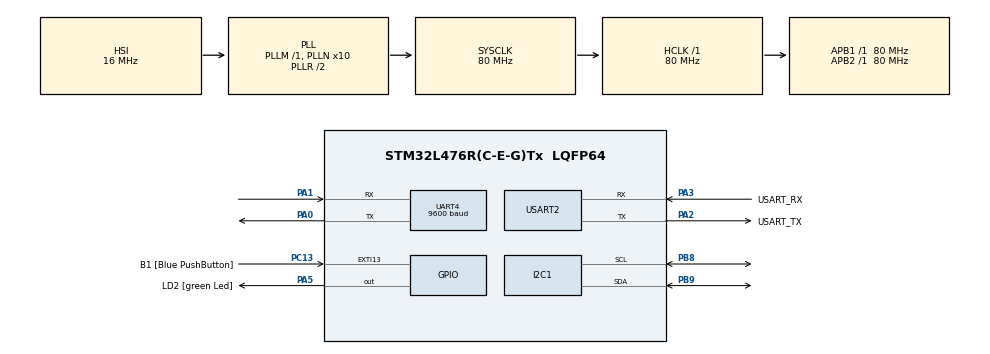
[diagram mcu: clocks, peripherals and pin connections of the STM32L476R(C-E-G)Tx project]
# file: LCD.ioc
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Dma.I2C1_RX.1.Direction=DMA_PERIPH_TO_MEMORY
Dma.I2C1_RX.1.Instance=DMA2_Channel6
Dma.I2C1_RX.1.MemDataAlignment=DMA_MDATAALIGN_BYTE
Dma.I2C1_RX.1.MemInc=DMA_MINC_ENABLE
Dma.I2C1_RX.1.Mode=DMA_NORMAL
Dma.I2C1_RX.1.PeriphDataAlignment=DMA_PDATAALIGN_BYTE
Dma.I2C1_RX.1.PeriphInc=DMA_PINC_DISABLE
Dma.I2C1_RX.1.Priority=DMA_PRIORITY_LOW
Dma.I2C1_TX.0.Direction=DMA_MEMORY_TO_PERIPH
Dma.I2C1_TX.0.Instance=DMA1_Channel6
Dma.I2C1_TX.0.MemDataAlignment=DMA_MDATAALIGN_BYTE
Dma.I2C1_TX.0.MemInc=DMA_MINC_ENABLE
Dma.I2C1_TX.0.Mode=DMA_NORMAL
Dma.I2C1_TX.0.PeriphDataAlignment=DMA_PDATAALIGN_BYTE
Dma.I2C1_TX.0.PeriphInc=DMA_PINC_DISABLE
Dma.I2C1_TX.0.Priority=DMA_PRIORITY_LOW
Dma.Request0=I2C1_TX
Dma.Request1=I2C1_RX
FREERTOS.Tasks01=Task_1000ms,24,128,myTask_1000ms,Default,NULL,Dynamic,NULL,NULL;Task_500ms,24,128,myTask_500ms,Default,NULL,Dynamic,NULL,NULL;Task_100ms,8,128,myTask_100ms,Default,NULL,Dynamic,NULL,NULL
FREERTOS.configGENERATE_RUN_TIME_STATS=1
FREERTOS.configUSE_PREEMPTION=0
I2C1.Timing=0x10909CEC
Mcu.Family=STM32L4
Mcu.Name=STM32L476R(C-E-G)Tx
Mcu.Package=LQFP64
NVIC.DMA1_Channel6_IRQn=true\:5\:0\:false\:false\:true\:true\:false\:true
NVIC.DMA2_Channel6_IRQn=true\:5\:0\:false\:false\:true\:false\:false\:true
NVIC.I2C1_ER_IRQn=true\:5\:0\:false\:false\:true\:true\:true\:true
NVIC.I2C1_EV_IRQn=true\:5\:0\:false\:false\:true\:true\:true\:true
NVIC.PriorityGroup=NVIC_PRIORITYGROUP_4
NVIC.TIM6_DAC_IRQn=true\:0\:0\:false\:false\:true\:false\:false\:true
NVIC.TimeBase=TIM6_DAC_IRQn
NVIC.TimeBaseIP=TIM6
NVIC.UART4_IRQn=true\:5\:0\:false\:false\:true\:true\:true\:true
PA0.Mode=Asynchronous
PA0.Signal=UART4_TX
PA1.Mode=Asynchronous
PA1.Signal=UART4_RX
PA13\ (JTMS-SWDIO).GPIO_Label=TMS
PA13\ (JTMS-SWDIO).Mode=Serial_Wire
PA13\ (JTMS-SWDIO).Signal=SYS_JTMS-SWDIO
PA14\ (JTCK-SWCLK).GPIO_Label=TCK
PA14\ (JTCK-SWCLK).Mode=Serial_Wire
PA14\ (JTCK-SWCLK).Signal=SYS_JTCK-SWCLK
PA2.GPIO_Label=USART_TX
PA2.GPIO_Mode=GPIO_MODE_AF_PP
PA2.GPIO_PuPd=GPIO_NOPULL
PA2.GPIO_Speed=GPIO_SPEED_FREQ_VERY_HIGH
PA2.Mode=Asynchronous
PA2.Signal=USART2_TX
PA3.GPIO_Label=USART_RX
PA3.GPIO_Mode=GPIO_MODE_AF_PP
PA3.GPIO_PuPd=GPIO_NOPULL
PA3.GPIO_Speed=GPIO_SPEED_FREQ_VERY_HIGH
PA3.Mode=Asynchronous
PA3.Signal=USART2_RX
PA5.GPIO_Label=LD2 [green Led]
PA5.GPIO_ModeDefaultOutputPP=GPIO_MODE_OUTPUT_PP
PA5.GPIO_PuPd=GPIO_NOPULL
PA5.GPIO_Speed=GPIO_SPEED_FREQ_LOW
PA5.Signal=GPIO_Output
PB8.Mode=I2C
PB8.Signal=I2C1_SCL
PB9.Mode=I2C
PB9.Signal=I2C1_SDA
PC13.GPIO_Label=B1 [Blue PushButton]
PC13.GPIO_ModeDefaultEXTI=GPIO_MODE_IT_FALLING
PC13.GPIO_PuPd=GPIO_NOPULL
PC13.Signal=GPXTI13
PC14-OSC32_IN\ (PC14).Mode=LSE-External-Oscillator
PC14-OSC32_IN\ (PC14).Signal=RCC_OSC32_IN
PC15-OSC32_OUT\ (PC15).Mode=LSE-External-Oscillator
PC15-OSC32_OUT\ (PC15).Signal=RCC_OSC32_OUT
PH0-OSC_IN\ (PH0).Signal=RCC_OSC_IN
PH1-OSC_OUT\ (PH1).Signal=RCC_OSC_OUT
ProjectManager.HeapSize=0x200
ProjectManager.StackSize=0x400
ProjectManager.TargetToolchain=STM32CubeIDE
RCC.ADCFreq_Value=64000000
RCC.AHBFreq_Value=80000000
RCC.APB1Freq_Value=80000000
RCC.APB1TimFreq_Value=80000000
RCC.APB2Freq_Value=80000000
RCC.APB2TimFreq_Value=80000000
RCC.CortexFreq_Value=80000000
RCC.HCLKFreq_Value=80000000
RCC.HSE_VALUE=8000000
RCC.HSI_VALUE=16000000
RCC.MSI_VALUE=4000000
RCC.PLLN=10
RCC.PLLSourceVirtual=RCC_PLLSOURCE_HSI
RCC.PREFETCH_ENABLE=1
RCC.SYSCLKFreq_VALUE=80000000
RCC.SYSCLKSource=RCC_SYSCLKSOURCE_PLLCLK
RCC.USBFreq_Value=64000000
RCC.VCOOutputFreq_Value=160000000
UART4.BaudRate=9600
USART2.Parity=PARITY_NONE
USART2.VirtualMode-Asynchronous=VM_ASYNC
VP_FREERTOS_VS_CMSIS_V2.Mode=CMSIS_V2
VP_SYS_VS_tim6.Mode=TIM6
board=NUCLEO-L476RG

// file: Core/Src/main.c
/* USER CODE BEGIN Header */
/**
  ******************************************************************************
  * @file           : main.c
  * @brief          : Main program body
  ******************************************************************************
  * @attention
  *
  * <h2><center>&copy; Copyright (c) 2020 STMicroelectronics.
  * All rights reserved.</center></h2>
  *
  * This software component is licensed by ST under BSD 3-Clause license,
  * the "License"; You may not use this file except in compliance with the
  * License. You may obtain a copy of the License at:
  *                        opensource.org/licenses/BSD-3-Clause
  *
  ******************************************************************************
  */
/* USER CODE END Header */

#include "main.h"
#include "cmsis_os.h"

/* USER CODE BEGIN Includes */

#include <stdio.h>
#include <stdlib.h>
#include <inttypes.h>

#include "lcd_hd44780_i2c.h"

/* USER CODE END Includes */

I2C_HandleTypeDef hi2c1;
DMA_HandleTypeDef hdma_i2c1_tx;
DMA_HandleTypeDef hdma_i2c1_rx;

UART_HandleTypeDef huart4;
UART_HandleTypeDef huart2;

/* Definitions for Task_1000ms */
osThreadId_t Task_1000msHandle;
const osThreadAttr_t Task_1000ms_attributes = {
  .name = "Task_1000ms",
  .priority = (osPriority_t) osPriorityNormal,
  .stack_size = 128 * 4
};
/* Definitions for Task_500ms */
osThreadId_t Task_500msHandle;
const osThreadAttr_t Task_500ms_attributes = {
  .name = "Task_500ms",
  .priority = (osPriority_t) osPriorityNormal,
  .stack_size = 128 * 4
};
/* Definitions for Task_100ms */
osThreadId_t Task_100msHandle;
const osThreadAttr_t Task_100ms_attributes = {
  .name = "Task_100ms",
  .priority = (osPriority_t) osPriorityLow,
  .stack_size = 128 * 4
};
/* USER CODE BEGIN PV */

uint8_t BUFOR = 0;

/* USER CODE END PV */

void SystemClock_Config(void);
static void MX_GPIO_Init(void);
static void MX_DMA_Init(void);
static void MX_I2C1_Init(void);
static void MX_USART2_UART_Init(void);
static void MX_UART4_Init(void);
void myTask_1000ms(void *argument);
void myTask_500ms(void *argument);
void myTask_100ms(void *argument);

/* USER CODE BEGIN PFP */
void HAL_UART_RxCpltCallback(UART_HandleTypeDef *huart);
/* USER CODE END PFP */

int main(void)
{

  /* MCU Configuration--------------------------------------------------------*/

  /* Reset of all peripherals, Initializes the Flash interface and the Systick. */
  HAL_Init();

  /* Configure the system clock */
  SystemClock_Config();

  /* Initialize all configured peripherals */
  MX_GPIO_Init();
  MX_DMA_Init();
  MX_I2C1_Init();
  MX_USART2_UART_Init();
  MX_UART4_Init();

  /* Init scheduler */
  osKernelInitialize();

  /* Create the thread(s) */
  /* creation of Task_1000ms */
  Task_1000msHandle = osThreadNew(myTask_1000ms, NULL, &Task_1000ms_attributes);

  /* creation of Task_500ms */
  Task_500msHandle = osThreadNew(myTask_500ms, NULL, &Task_500ms_attributes);

  /* creation of Task_100ms */
  Task_100msHandle = osThreadNew(myTask_100ms, NULL, &Task_100ms_attributes);

  /* Start scheduler */
  osKernelStart();

  /* We should never get here as control is now taken by the scheduler */
  /* Infinite loop */
  while (1)
  {

  }
}

void SystemClock_Config(void)
{
  RCC_OscInitTypeDef RCC_OscInitStruct = {0};
  RCC_ClkInitTypeDef RCC_ClkInitStruct = {0};
  RCC_PeriphCLKInitTypeDef PeriphClkInit = {0};

  /** Initializes the CPU, AHB and APB busses clocks
  */
  RCC_OscInitStruct.OscillatorType = RCC_OSCILLATORTYPE_HSI;
  RCC_OscInitStruct.HSIState = RCC_HSI_ON;
  RCC_OscInitStruct.HSICalibrationValue = RCC_HSICALIBRATION_DEFAULT;
  RCC_OscInitStruct.PLL.PLLState = RCC_PLL_ON;
  RCC_OscInitStruct.PLL.PLLSource = RCC_PLLSOURCE_HSI;
  RCC_OscInitStruct.PLL.PLLM = 1;
  RCC_OscInitStruct.PLL.PLLN = 10;
  RCC_OscInitStruct.PLL.PLLP = RCC_PLLP_DIV7;
  RCC_OscInitStruct.PLL.PLLQ = RCC_PLLQ_DIV2;
  RCC_OscInitStruct.PLL.PLLR = RCC_PLLR_DIV2;
  if (HAL_RCC_OscConfig(&RCC_OscInitStruct) != HAL_OK)
  {
    Error_Handler();
  }
  /** Initializes the CPU, AHB and APB busses clocks
  */
  RCC_ClkInitStruct.ClockType = RCC_CLOCKTYPE_HCLK|RCC_CLOCKTYPE_SYSCLK
                              |RCC_CLOCKTYPE_PCLK1|RCC_CLOCKTYPE_PCLK2;
  RCC_ClkInitStruct.SYSCLKSource = RCC_SYSCLKSOURCE_PLLCLK;
  RCC_ClkInitStruct.AHBCLKDivider = RCC_SYSCLK_DIV1;
  RCC_ClkInitStruct.APB1CLKDivider = RCC_HCLK_DIV1;
  RCC_ClkInitStruct.APB2CLKDivider = RCC_HCLK_DIV1;

  if (HAL_RCC_ClockConfig(&RCC_ClkInitStruct, FLASH_LATENCY_4) != HAL_OK)
  {
    Error_Handler();
  }
  PeriphClkInit.PeriphClockSelection = RCC_PERIPHCLK_USART2|RCC_PERIPHCLK_UART4
                              |RCC_PERIPHCLK_I2C1;
  PeriphClkInit.Usart2ClockSelection = RCC_USART2CLKSOURCE_PCLK1;
  PeriphClkInit.Uart4ClockSelection = RCC_UART4CLKSOURCE_PCLK1;
  PeriphClkInit.I2c1ClockSelection = RCC_I2C1CLKSOURCE_PCLK1;
  if (HAL_RCCEx_PeriphCLKConfig(&PeriphClkInit) != HAL_OK)
  {
    Error_Handler();
  }
  /** Configure the main internal regulator output voltage
  */
  if (HAL_PWREx_ControlVoltageScaling(PWR_REGULATOR_VOLTAGE_SCALE1) != HAL_OK)
  {
    Error_Handler();
  }
}

static void MX_I2C1_Init(void)
{

  hi2c1.Instance = I2C1;
  hi2c1.Init.Timing = 0x10909CEC;
  hi2c1.Init.OwnAddress1 = 0;
  hi2c1.Init.AddressingMode = I2C_ADDRESSINGMODE_7BIT;
  hi2c1.Init.DualAddressMode = I2C_DUALADDRESS_DISABLE;
  hi2c1.Init.OwnAddress2 = 0;
  hi2c1.Init.OwnAddress2Masks = I2C_OA2_NOMASK;
  hi2c1.Init.GeneralCallMode = I2C_GENERALCALL_DISABLE;
  hi2c1.Init.NoStretchMode = I2C_NOSTRETCH_DISABLE;
  if (HAL_I2C_Init(&hi2c1) != HAL_OK)
  {
    Error_Handler();
  }
  /** Configure Analogue filter
  */
  if (HAL_I2CEx_ConfigAnalogFilter(&hi2c1, I2C_ANALOGFILTER_ENABLE) != HAL_OK)
  {
    Error_Handler();
  }
  /** Configure Digital filter
  */
  if (HAL_I2CEx_ConfigDigitalFilter(&hi2c1, 0) != HAL_OK)
  {
    Error_Handler();
  }

}

static void MX_UART4_Init(void)
{

  huart4.Instance = UART4;
  huart4.Init.BaudRate = 9600;
  huart4.Init.WordLength = UART_WORDLENGTH_8B;
  huart4.Init.StopBits = UART_STOPBITS_1;
  huart4.Init.Parity = UART_PARITY_NONE;
  huart4.Init.Mode = UART_MODE_TX_RX;
  huart4.Init.HwFlowCtl = UART_HWCONTROL_NONE;
  huart4.Init.OverSampling = UART_OVERSAMPLING_16;
  huart4.Init.OneBitSampling = UART_ONE_BIT_SAMPLE_DISABLE;
  huart4.AdvancedInit.AdvFeatureInit = UART_ADVFEATURE_NO_INIT;
  if (HAL_UART_Init(&huart4) != HAL_OK)
  {
    Error_Handler();
  }

}

static void MX_USART2_UART_Init(void)
{

  huart2.Instance = USART2;
  huart2.Init.BaudRate = 115200;
  huart2.Init.WordLength = UART_WORDLENGTH_8B;
  huart2.Init.StopBits = UART_STOPBITS_1;
  huart2.Init.Parity = UART_PARITY_NONE;
  huart2.Init.Mode = UART_MODE_TX_RX;
  huart2.Init.HwFlowCtl = UART_HWCONTROL_NONE;
  huart2.Init.OverSampling = UART_OVERSAMPLING_16;
  huart2.Init.OneBitSampling = UART_ONE_BIT_SAMPLE_DISABLE;
  huart2.AdvancedInit.AdvFeatureInit = UART_ADVFEATURE_NO_INIT;
  if (HAL_UART_Init(&huart2) != HAL_OK)
  {
    Error_Handler();
  }

}

static void MX_DMA_Init(void)
{

  /* DMA controller clock enable */
  __HAL_RCC_DMA1_CLK_ENABLE();
  __HAL_RCC_DMA2_CLK_ENABLE();

  /* DMA interrupt init */
  /* DMA1_Channel6_IRQn interrupt configuration */
  HAL_NVIC_SetPriority(DMA1_Channel6_IRQn, 5, 0);
  HAL_NVIC_EnableIRQ(DMA1_Channel6_IRQn);
  /* DMA2_Channel6_IRQn interrupt configuration */
  HAL_NVIC_SetPriority(DMA2_Channel6_IRQn, 5, 0);
  HAL_NVIC_EnableIRQ(DMA2_Channel6_IRQn);

}

static void MX_GPIO_Init(void)
{
  GPIO_InitTypeDef GPIO_InitStruct = {0};

  /* GPIO Ports Clock Enable */
  __HAL_RCC_GPIOC_CLK_ENABLE();
  __HAL_RCC_GPIOH_CLK_ENABLE();
  __HAL_RCC_GPIOA_CLK_ENABLE();
  __HAL_RCC_GPIOB_CLK_ENABLE();

  /*Configure GPIO pin Output Level */
  HAL_GPIO_WritePin(LD2_GPIO_Port, LD2_Pin, GPIO_PIN_RESET);

  /*Configure GPIO pin : B1_Pin */
  GPIO_InitStruct.Pin = B1_Pin;
  GPIO_InitStruct.Mode = GPIO_MODE_IT_FALLING;
  GPIO_InitStruct.Pull = GPIO_NOPULL;
  HAL_GPIO_Init(B1_GPIO_Port, &GPIO_InitStruct);

  /*Configure GPIO pin : LD2_Pin */
  GPIO_InitStruct.Pin = LD2_Pin;
  GPIO_InitStruct.Mode = GPIO_MODE_OUTPUT_PP;
  GPIO_InitStruct.Pull = GPIO_NOPULL;
  GPIO_InitStruct.Speed = GPIO_SPEED_FREQ_LOW;
  HAL_GPIO_Init(LD2_GPIO_Port, &GPIO_InitStruct);

}

/* USER CODE BEGIN 4 */

void HAL_UART_RxCpltCallback(UART_HandleTypeDef *huart)
{
	if(&huart4 == huart)
	{

		HAL_UART_Transmit(&huart2, &BUFOR, 1, 10);
		HAL_UART_Receive_IT(&huart4, &BUFOR, 1);
	}
}

/* USER CODE END 4 */

void myTask_1000ms(void *argument)
{
  /* USER CODE BEGIN 5 */

	TickType_t xLastWakeTime;
	const TickType_t xFrequency = 1000;

	static uint32_t counter = 0;
	uint8_t message[14] = {0};

	vTaskDelay(10);

	lcdInit(&hi2c1, (uint8_t)0x27, (uint8_t)4, (uint8_t)20);

	// Print text and home position 0,0
	lcdPrintStr((uint8_t*)"Hello,", 6);

	// Set cursor at zero position of line 3
	lcdSetCursorPosition(0, 1);

	// Print text at cursor position
	lcdPrintStr((uint8_t*)"World!", 6);

	  HAL_UART_Receive_IT(&huart4, &BUFOR, 1);

	xLastWakeTime = xTaskGetTickCount ();
  /* Infinite loop */
  for(;;)
  {
	  ++counter;

//	  sprintf((char*)message, "%" PRIu32 "eh!", counter);
	  snprintf((char*)message, 13,"Task1: %" PRIu32, counter);
//	  itoa((int)counter, (char*)message, 10);
	  lcdSetCursorPosition(0, 0);
	  lcdPrintStr(message, 13);

//	  HAL_UART_Transmit(&huart2, message, 13, 10);

	  vTaskDelayUntil(&xLastWakeTime, xFrequency);
  }
  /* USER CODE END 5 */
}

void myTask_500ms(void *argument)
{
  /* USER CODE BEGIN myTask_500ms */

	TickType_t xLastWakeTime;
	const TickType_t xFrequency = 500;

	xLastWakeTime = xTaskGetTickCount ();
  /* Infinite loop */
  for(;;)
  {
	  HAL_GPIO_TogglePin(LD2_GPIO_Port, LD2_Pin);

	  vTaskDelayUntil(&xLastWakeTime, xFrequency);
  }
  /* USER CODE END myTask_500ms */
}

void myTask_100ms(void *argument)
{
  /* USER CODE BEGIN myTask_100ms */

	TickType_t xLastWakeTime;
	const TickType_t xFrequency = 100;

	static uint32_t counter = 0;
	uint8_t message[14] = {0};
	vTaskDelay(1);

	xLastWakeTime = xTaskGetTickCount ();
  /* Infinite loop */
  for(;;)
  {
	  ++counter;

//	  sprintf((char*)message, "%" PRIu32 "eh!", counter);
	  snprintf((char*)message, 13, "Task2: %" PRIu32, counter);
//	  itoa((int)counter, (char*)message, 10);
	  lcdSetCursorPosition(0, 1);
	  lcdPrintStr(message, 13);

	  vTaskDelayUntil(&xLastWakeTime, xFrequency);
  }
  /* USER CODE END myTask_100ms */
}

 /**
  * @brief  Period elapsed callback in non blocking mode
  * @note   This function is called  when TIM6 interrupt took place, inside
  * HAL_TIM_IRQHandler(). It makes a direct call to HAL_IncTick() to increment
  * a global variable "uwTick" used as application time base.
  * @param  htim : TIM handle
  * @retval None
  */
void HAL_TIM_PeriodElapsedCallback(TIM_HandleTypeDef *htim)
{
  if (htim->Instance == TIM6) {
    HAL_IncTick();
  }
}

void Error_Handler(void)
{
}

/************************ (C) COPYRIGHT STMicroelectronics *****END OF FILE****/
